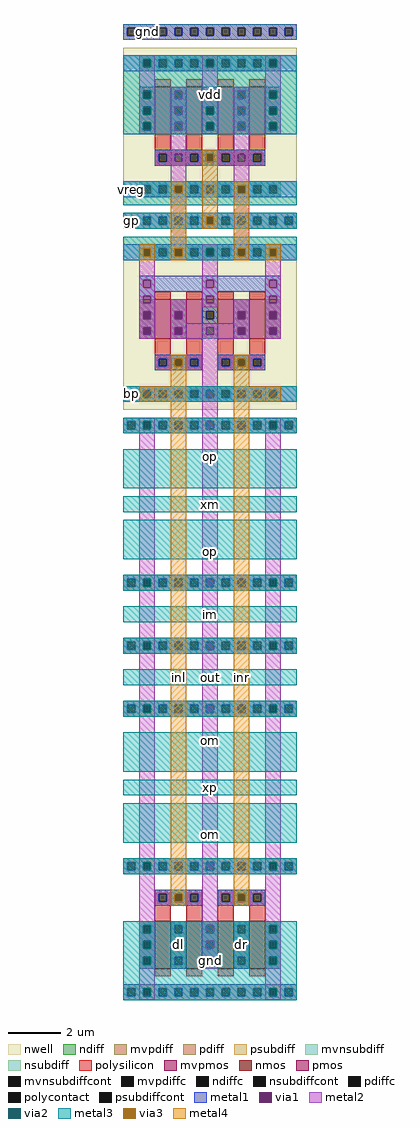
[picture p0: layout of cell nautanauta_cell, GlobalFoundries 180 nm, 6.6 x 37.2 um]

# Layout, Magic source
magic
tech gf180mcuC
<< nwell >>
rect -720 474 -588 594
rect -720 318 -588 450
<< nmos >>
rect -696 -108 -684 -72
rect -672 -108 -660 -72
rect -648 -108 -636 -72
rect -624 -108 -612 -72
<< pmos >>
rect -696 372 -684 402
rect -672 372 -660 402
rect -648 372 -636 402
rect -624 372 -612 402
<< mvpmos >>
rect -696 528 -684 564
rect -672 528 -660 564
rect -648 528 -636 564
rect -624 528 -612 564
<< ndiff >>
rect -708 -75 -696 -72
rect -708 -81 -705 -75
rect -699 -81 -696 -75
rect -708 -87 -696 -81
rect -708 -93 -705 -87
rect -699 -93 -696 -87
rect -708 -99 -696 -93
rect -708 -105 -705 -99
rect -699 -105 -696 -99
rect -708 -108 -696 -105
rect -684 -75 -672 -72
rect -684 -81 -681 -75
rect -675 -81 -672 -75
rect -684 -87 -672 -81
rect -684 -93 -681 -87
rect -675 -93 -672 -87
rect -684 -99 -672 -93
rect -684 -105 -681 -99
rect -675 -105 -672 -99
rect -684 -108 -672 -105
rect -660 -75 -648 -72
rect -660 -81 -657 -75
rect -651 -81 -648 -75
rect -660 -87 -648 -81
rect -660 -93 -657 -87
rect -651 -93 -648 -87
rect -660 -99 -648 -93
rect -660 -105 -657 -99
rect -651 -105 -648 -99
rect -660 -108 -648 -105
rect -636 -75 -624 -72
rect -636 -81 -633 -75
rect -627 -81 -624 -75
rect -636 -87 -624 -81
rect -636 -93 -633 -87
rect -627 -93 -624 -87
rect -636 -99 -624 -93
rect -636 -105 -633 -99
rect -627 -105 -624 -99
rect -636 -108 -624 -105
rect -612 -75 -600 -72
rect -612 -81 -609 -75
rect -603 -81 -600 -75
rect -612 -87 -600 -81
rect -612 -93 -609 -87
rect -603 -93 -600 -87
rect -612 -99 -600 -93
rect -612 -105 -609 -99
rect -603 -105 -600 -99
rect -612 -108 -600 -105
<< pdiff >>
rect -708 393 -696 402
rect -708 387 -705 393
rect -699 387 -696 393
rect -708 381 -696 387
rect -708 375 -705 381
rect -699 375 -696 381
rect -708 372 -696 375
rect -684 393 -672 402
rect -684 387 -681 393
rect -675 387 -672 393
rect -684 381 -672 387
rect -684 375 -681 381
rect -675 375 -672 381
rect -684 372 -672 375
rect -660 393 -648 402
rect -660 387 -657 393
rect -651 387 -648 393
rect -660 381 -648 387
rect -660 375 -657 381
rect -651 375 -648 381
rect -660 372 -648 375
rect -636 393 -624 402
rect -636 387 -633 393
rect -627 387 -624 393
rect -636 381 -624 387
rect -636 375 -633 381
rect -627 375 -624 381
rect -636 372 -624 375
rect -612 393 -600 402
rect -612 387 -609 393
rect -603 387 -600 393
rect -612 381 -600 387
rect -612 375 -609 381
rect -603 375 -600 381
rect -612 372 -600 375
<< mvpdiff >>
rect -708 561 -696 564
rect -708 555 -705 561
rect -699 555 -696 561
rect -708 549 -696 555
rect -708 543 -705 549
rect -699 543 -696 549
rect -708 537 -696 543
rect -708 531 -705 537
rect -699 531 -696 537
rect -708 528 -696 531
rect -684 561 -672 564
rect -684 555 -681 561
rect -675 555 -672 561
rect -684 549 -672 555
rect -684 543 -681 549
rect -675 543 -672 549
rect -684 537 -672 543
rect -684 531 -681 537
rect -675 531 -672 537
rect -684 528 -672 531
rect -660 561 -648 564
rect -660 555 -657 561
rect -651 555 -648 561
rect -660 549 -648 555
rect -660 543 -657 549
rect -651 543 -648 549
rect -660 537 -648 543
rect -660 531 -657 537
rect -651 531 -648 537
rect -660 528 -648 531
rect -636 561 -624 564
rect -636 555 -633 561
rect -627 555 -624 561
rect -636 549 -624 555
rect -636 543 -633 549
rect -627 543 -624 549
rect -636 537 -624 543
rect -636 531 -633 537
rect -627 531 -624 537
rect -636 528 -624 531
rect -612 561 -600 564
rect -612 555 -609 561
rect -603 555 -600 561
rect -612 549 -600 555
rect -612 543 -609 549
rect -603 543 -600 549
rect -612 537 -600 543
rect -612 531 -609 537
rect -603 531 -600 537
rect -612 528 -600 531
<< ndiffc >>
rect -705 -81 -699 -75
rect -705 -93 -699 -87
rect -705 -105 -699 -99
rect -681 -81 -675 -75
rect -681 -93 -675 -87
rect -681 -105 -675 -99
rect -657 -81 -651 -75
rect -657 -93 -651 -87
rect -657 -105 -651 -99
rect -633 -81 -627 -75
rect -633 -93 -627 -87
rect -633 -105 -627 -99
rect -609 -81 -603 -75
rect -609 -93 -603 -87
rect -609 -105 -603 -99
<< pdiffc >>
rect -705 387 -699 393
rect -705 375 -699 381
rect -681 387 -675 393
rect -681 375 -675 381
rect -657 387 -651 393
rect -657 375 -651 381
rect -633 387 -627 393
rect -633 375 -627 381
rect -609 387 -603 393
rect -609 375 -603 381
<< mvpdiffc >>
rect -705 555 -699 561
rect -705 543 -699 549
rect -705 531 -699 537
rect -681 555 -675 561
rect -681 543 -675 549
rect -681 531 -675 537
rect -657 555 -651 561
rect -657 543 -651 549
rect -657 531 -651 537
rect -633 555 -627 561
rect -633 543 -627 549
rect -633 531 -627 537
rect -609 555 -603 561
rect -609 543 -603 549
rect -609 531 -603 537
<< psubdiff >>
rect -720 609 -588 612
rect -720 603 -717 609
rect -711 603 -705 609
rect -699 603 -693 609
rect -687 603 -681 609
rect -675 603 -669 609
rect -663 603 -657 609
rect -651 603 -645 609
rect -639 603 -633 609
rect -627 603 -621 609
rect -615 603 -609 609
rect -603 603 -597 609
rect -591 603 -588 609
rect -720 600 -588 603
rect -720 465 -588 468
rect -720 459 -717 465
rect -711 459 -705 465
rect -699 459 -693 465
rect -687 459 -681 465
rect -675 459 -669 465
rect -663 459 -657 465
rect -651 459 -645 465
rect -639 459 -633 465
rect -627 459 -621 465
rect -615 459 -609 465
rect -603 459 -597 465
rect -591 459 -588 465
rect -720 456 -588 459
rect -720 309 -588 312
rect -720 303 -717 309
rect -711 303 -705 309
rect -699 303 -693 309
rect -687 303 -681 309
rect -675 303 -669 309
rect -663 303 -657 309
rect -651 303 -645 309
rect -639 303 -633 309
rect -627 303 -621 309
rect -615 303 -609 309
rect -603 303 -597 309
rect -591 303 -588 309
rect -720 300 -588 303
rect -720 189 -588 192
rect -720 183 -717 189
rect -711 183 -705 189
rect -699 183 -693 189
rect -687 183 -681 189
rect -675 183 -669 189
rect -663 183 -657 189
rect -651 183 -645 189
rect -639 183 -633 189
rect -627 183 -621 189
rect -615 183 -609 189
rect -603 183 -597 189
rect -591 183 -588 189
rect -720 180 -588 183
rect -720 141 -588 144
rect -720 135 -717 141
rect -711 135 -705 141
rect -699 135 -693 141
rect -687 135 -681 141
rect -675 135 -669 141
rect -663 135 -657 141
rect -651 135 -645 141
rect -639 135 -633 141
rect -627 135 -621 141
rect -615 135 -609 141
rect -603 135 -597 141
rect -591 135 -588 141
rect -720 132 -588 135
rect -720 93 -588 96
rect -720 87 -717 93
rect -711 87 -705 93
rect -699 87 -693 93
rect -687 87 -681 93
rect -675 87 -669 93
rect -663 87 -657 93
rect -651 87 -645 93
rect -639 87 -633 93
rect -627 87 -621 93
rect -615 87 -609 93
rect -603 87 -597 93
rect -591 87 -588 93
rect -720 84 -588 87
rect -720 -27 -588 -24
rect -720 -33 -717 -27
rect -711 -33 -705 -27
rect -699 -33 -693 -27
rect -687 -33 -681 -27
rect -675 -33 -669 -27
rect -663 -33 -657 -27
rect -651 -33 -645 -27
rect -639 -33 -633 -27
rect -627 -33 -621 -27
rect -615 -33 -609 -27
rect -603 -33 -597 -27
rect -591 -33 -588 -27
rect -720 -36 -588 -33
rect -720 -123 -588 -120
rect -720 -129 -717 -123
rect -711 -129 -705 -123
rect -699 -129 -693 -123
rect -687 -129 -681 -123
rect -675 -129 -669 -123
rect -663 -129 -657 -123
rect -651 -129 -645 -123
rect -639 -129 -633 -123
rect -627 -129 -621 -123
rect -615 -129 -609 -123
rect -603 -129 -597 -123
rect -591 -129 -588 -123
rect -720 -132 -588 -129
<< nsubdiff >>
rect -708 441 -600 444
rect -708 435 -705 441
rect -699 435 -693 441
rect -687 435 -681 441
rect -675 435 -669 441
rect -663 435 -657 441
rect -651 435 -645 441
rect -639 435 -633 441
rect -627 435 -621 441
rect -615 435 -609 441
rect -603 435 -600 441
rect -708 432 -600 435
rect -708 333 -600 336
rect -708 327 -705 333
rect -699 327 -693 333
rect -687 327 -681 333
rect -675 327 -669 333
rect -663 327 -657 333
rect -651 327 -645 333
rect -639 327 -633 333
rect -627 327 -621 333
rect -615 327 -609 333
rect -603 327 -600 333
rect -708 324 -600 327
<< mvnsubdiff >>
rect -708 585 -600 588
rect -708 579 -705 585
rect -699 579 -693 585
rect -687 579 -681 585
rect -675 579 -669 585
rect -663 579 -657 585
rect -651 579 -645 585
rect -639 579 -633 585
rect -627 579 -621 585
rect -615 579 -609 585
rect -603 579 -600 585
rect -708 576 -600 579
rect -708 489 -600 492
rect -708 483 -705 489
rect -699 483 -693 489
rect -687 483 -681 489
rect -675 483 -669 489
rect -663 483 -657 489
rect -651 483 -645 489
rect -639 483 -633 489
rect -627 483 -621 489
rect -615 483 -609 489
rect -603 483 -600 489
rect -708 480 -600 483
<< psubdiffcont >>
rect -717 603 -711 609
rect -705 603 -699 609
rect -693 603 -687 609
rect -681 603 -675 609
rect -669 603 -663 609
rect -657 603 -651 609
rect -645 603 -639 609
rect -633 603 -627 609
rect -621 603 -615 609
rect -609 603 -603 609
rect -597 603 -591 609
rect -717 459 -711 465
rect -705 459 -699 465
rect -693 459 -687 465
rect -681 459 -675 465
rect -669 459 -663 465
rect -657 459 -651 465
rect -645 459 -639 465
rect -633 459 -627 465
rect -621 459 -615 465
rect -609 459 -603 465
rect -597 459 -591 465
rect -717 303 -711 309
rect -705 303 -699 309
rect -693 303 -687 309
rect -681 303 -675 309
rect -669 303 -663 309
rect -657 303 -651 309
rect -645 303 -639 309
rect -633 303 -627 309
rect -621 303 -615 309
rect -609 303 -603 309
rect -597 303 -591 309
rect -717 183 -711 189
rect -705 183 -699 189
rect -693 183 -687 189
rect -681 183 -675 189
rect -669 183 -663 189
rect -657 183 -651 189
rect -645 183 -639 189
rect -633 183 -627 189
rect -621 183 -615 189
rect -609 183 -603 189
rect -597 183 -591 189
rect -717 135 -711 141
rect -705 135 -699 141
rect -693 135 -687 141
rect -681 135 -675 141
rect -669 135 -663 141
rect -657 135 -651 141
rect -645 135 -639 141
rect -633 135 -627 141
rect -621 135 -615 141
rect -609 135 -603 141
rect -597 135 -591 141
rect -717 87 -711 93
rect -705 87 -699 93
rect -693 87 -687 93
rect -681 87 -675 93
rect -669 87 -663 93
rect -657 87 -651 93
rect -645 87 -639 93
rect -633 87 -627 93
rect -621 87 -615 93
rect -609 87 -603 93
rect -597 87 -591 93
rect -717 -33 -711 -27
rect -705 -33 -699 -27
rect -693 -33 -687 -27
rect -681 -33 -675 -27
rect -669 -33 -663 -27
rect -657 -33 -651 -27
rect -645 -33 -639 -27
rect -633 -33 -627 -27
rect -621 -33 -615 -27
rect -609 -33 -603 -27
rect -597 -33 -591 -27
rect -717 -129 -711 -123
rect -705 -129 -699 -123
rect -693 -129 -687 -123
rect -681 -129 -675 -123
rect -669 -129 -663 -123
rect -657 -129 -651 -123
rect -645 -129 -639 -123
rect -633 -129 -627 -123
rect -621 -129 -615 -123
rect -609 -129 -603 -123
rect -597 -129 -591 -123
<< nsubdiffcont >>
rect -705 435 -699 441
rect -693 435 -687 441
rect -681 435 -675 441
rect -669 435 -663 441
rect -657 435 -651 441
rect -645 435 -639 441
rect -633 435 -627 441
rect -621 435 -615 441
rect -609 435 -603 441
rect -705 327 -699 333
rect -693 327 -687 333
rect -681 327 -675 333
rect -669 327 -663 333
rect -657 327 -651 333
rect -645 327 -639 333
rect -633 327 -627 333
rect -621 327 -615 333
rect -609 327 -603 333
<< mvnsubdiffcont >>
rect -705 579 -699 585
rect -693 579 -687 585
rect -681 579 -675 585
rect -669 579 -663 585
rect -657 579 -651 585
rect -645 579 -639 585
rect -633 579 -627 585
rect -621 579 -615 585
rect -609 579 -603 585
rect -705 483 -699 489
rect -693 483 -687 489
rect -681 483 -675 489
rect -669 483 -663 489
rect -657 483 -651 489
rect -645 483 -639 489
rect -633 483 -627 489
rect -621 483 -615 489
rect -609 483 -603 489
<< polysilicon >>
rect -696 564 -684 570
rect -672 564 -660 570
rect -648 564 -636 570
rect -624 564 -612 570
rect -696 516 -684 528
rect -672 516 -660 528
rect -648 516 -636 528
rect -624 516 -612 528
rect -696 513 -612 516
rect -696 507 -693 513
rect -687 507 -681 513
rect -675 507 -669 513
rect -663 507 -657 513
rect -651 507 -645 513
rect -639 507 -633 513
rect -627 507 -621 513
rect -615 507 -612 513
rect -696 504 -612 507
rect -696 402 -684 408
rect -672 402 -660 408
rect -648 402 -636 408
rect -624 402 -612 408
rect -696 360 -684 372
rect -672 360 -660 372
rect -696 357 -660 360
rect -696 351 -693 357
rect -687 351 -681 357
rect -675 351 -669 357
rect -663 351 -660 357
rect -696 348 -660 351
rect -648 360 -636 372
rect -624 360 -612 372
rect -648 357 -612 360
rect -648 351 -645 357
rect -639 351 -633 357
rect -627 351 -621 357
rect -615 351 -612 357
rect -648 348 -612 351
rect -696 -51 -660 -48
rect -696 -57 -693 -51
rect -687 -57 -681 -51
rect -675 -57 -669 -51
rect -663 -57 -660 -51
rect -696 -60 -660 -57
rect -696 -72 -684 -60
rect -672 -72 -660 -60
rect -648 -51 -612 -48
rect -648 -57 -645 -51
rect -639 -57 -633 -51
rect -627 -57 -621 -51
rect -615 -57 -612 -51
rect -648 -60 -612 -57
rect -648 -72 -636 -60
rect -624 -72 -612 -60
rect -696 -114 -684 -108
rect -672 -114 -660 -108
rect -648 -114 -636 -108
rect -624 -114 -612 -108
<< polycontact >>
rect -693 507 -687 513
rect -681 507 -675 513
rect -669 507 -663 513
rect -657 507 -651 513
rect -645 507 -639 513
rect -633 507 -627 513
rect -621 507 -615 513
rect -693 351 -687 357
rect -681 351 -675 357
rect -669 351 -663 357
rect -645 351 -639 357
rect -633 351 -627 357
rect -621 351 -615 357
rect -693 -57 -687 -51
rect -681 -57 -675 -51
rect -669 -57 -663 -51
rect -645 -57 -639 -51
rect -633 -57 -627 -51
rect -621 -57 -615 -51
<< metal1 >>
rect -720 609 -588 612
rect -720 603 -717 609
rect -711 603 -705 609
rect -699 603 -693 609
rect -687 603 -681 609
rect -675 603 -669 609
rect -663 603 -657 609
rect -651 603 -645 609
rect -639 603 -633 609
rect -627 603 -621 609
rect -615 603 -609 609
rect -603 603 -597 609
rect -591 603 -588 609
rect -720 600 -588 603
rect -720 585 -588 588
rect -720 579 -705 585
rect -699 579 -693 585
rect -687 579 -681 585
rect -675 579 -669 585
rect -663 579 -657 585
rect -651 579 -645 585
rect -639 579 -633 585
rect -627 579 -621 585
rect -615 579 -609 585
rect -603 579 -588 585
rect -720 576 -588 579
rect -708 561 -696 564
rect -708 555 -705 561
rect -699 555 -696 561
rect -708 549 -696 555
rect -708 543 -705 549
rect -699 543 -696 549
rect -708 537 -696 543
rect -708 531 -705 537
rect -699 531 -696 537
rect -708 528 -696 531
rect -684 561 -672 564
rect -684 555 -681 561
rect -675 555 -672 561
rect -684 549 -672 555
rect -684 543 -681 549
rect -675 543 -672 549
rect -684 537 -672 543
rect -684 531 -681 537
rect -675 531 -672 537
rect -684 528 -672 531
rect -660 561 -648 564
rect -660 555 -657 561
rect -651 555 -648 561
rect -660 549 -648 555
rect -660 543 -657 549
rect -651 543 -648 549
rect -660 537 -648 543
rect -660 531 -657 537
rect -651 531 -648 537
rect -660 528 -648 531
rect -636 561 -624 564
rect -636 555 -633 561
rect -627 555 -624 561
rect -636 549 -624 555
rect -636 543 -633 549
rect -627 543 -624 549
rect -636 537 -624 543
rect -636 531 -633 537
rect -627 531 -624 537
rect -636 528 -624 531
rect -612 561 -600 564
rect -612 555 -609 561
rect -603 555 -600 561
rect -612 549 -600 555
rect -612 543 -609 549
rect -603 543 -600 549
rect -612 537 -600 543
rect -612 531 -609 537
rect -603 531 -600 537
rect -612 528 -600 531
rect -696 513 -612 516
rect -696 507 -693 513
rect -687 507 -681 513
rect -675 507 -669 513
rect -663 507 -657 513
rect -651 507 -645 513
rect -639 507 -633 513
rect -627 507 -621 513
rect -615 507 -612 513
rect -696 504 -612 507
rect -720 489 -588 492
rect -720 483 -705 489
rect -699 483 -693 489
rect -687 483 -681 489
rect -675 483 -669 489
rect -663 483 -657 489
rect -651 483 -645 489
rect -639 483 -633 489
rect -627 483 -621 489
rect -615 483 -609 489
rect -603 483 -588 489
rect -720 480 -588 483
rect -720 465 -588 468
rect -720 459 -717 465
rect -711 459 -705 465
rect -699 459 -693 465
rect -687 459 -681 465
rect -675 459 -669 465
rect -663 459 -657 465
rect -651 459 -645 465
rect -639 459 -633 465
rect -627 459 -621 465
rect -615 459 -609 465
rect -603 459 -597 465
rect -591 459 -588 465
rect -720 456 -588 459
rect -720 441 -588 444
rect -720 435 -705 441
rect -699 435 -693 441
rect -687 435 -681 441
rect -675 435 -669 441
rect -663 435 -657 441
rect -651 435 -645 441
rect -639 435 -633 441
rect -627 435 -621 441
rect -615 435 -609 441
rect -603 435 -588 441
rect -720 432 -588 435
rect -708 417 -600 420
rect -708 411 -705 417
rect -699 411 -657 417
rect -651 411 -609 417
rect -603 411 -600 417
rect -708 408 -600 411
rect -708 405 -696 408
rect -708 399 -705 405
rect -699 399 -696 405
rect -660 405 -648 408
rect -708 393 -696 399
rect -708 387 -705 393
rect -699 387 -696 393
rect -708 381 -696 387
rect -708 375 -705 381
rect -699 375 -696 381
rect -708 372 -696 375
rect -684 393 -672 402
rect -684 387 -681 393
rect -675 387 -672 393
rect -684 381 -672 387
rect -684 375 -681 381
rect -675 375 -672 381
rect -684 372 -672 375
rect -660 399 -657 405
rect -651 399 -648 405
rect -612 405 -600 408
rect -660 393 -648 399
rect -660 387 -657 393
rect -651 387 -648 393
rect -660 381 -648 387
rect -660 375 -657 381
rect -651 375 -648 381
rect -660 372 -648 375
rect -636 393 -624 402
rect -636 387 -633 393
rect -627 387 -624 393
rect -636 381 -624 387
rect -636 375 -633 381
rect -627 375 -624 381
rect -636 372 -624 375
rect -612 399 -609 405
rect -603 399 -600 405
rect -612 393 -600 399
rect -612 387 -609 393
rect -603 387 -600 393
rect -612 381 -600 387
rect -612 375 -609 381
rect -603 375 -600 381
rect -612 372 -600 375
rect -696 357 -660 360
rect -696 351 -693 357
rect -687 351 -681 357
rect -675 351 -669 357
rect -663 351 -660 357
rect -696 348 -660 351
rect -648 357 -612 360
rect -648 351 -645 357
rect -639 351 -633 357
rect -627 351 -621 357
rect -615 351 -612 357
rect -648 348 -612 351
rect -720 333 -588 336
rect -720 327 -705 333
rect -699 327 -693 333
rect -687 327 -681 333
rect -675 327 -669 333
rect -663 327 -657 333
rect -651 327 -645 333
rect -639 327 -633 333
rect -627 327 -621 333
rect -615 327 -609 333
rect -603 327 -588 333
rect -720 324 -588 327
rect -720 309 -588 312
rect -720 303 -717 309
rect -711 303 -705 309
rect -699 303 -693 309
rect -687 303 -681 309
rect -675 303 -669 309
rect -663 303 -657 309
rect -651 303 -645 309
rect -639 303 -633 309
rect -627 303 -621 309
rect -615 303 -609 309
rect -603 303 -597 309
rect -591 303 -588 309
rect -720 300 -588 303
rect -720 189 -588 192
rect -720 183 -717 189
rect -711 183 -705 189
rect -699 183 -693 189
rect -687 183 -681 189
rect -675 183 -669 189
rect -663 183 -657 189
rect -651 183 -645 189
rect -639 183 -633 189
rect -627 183 -621 189
rect -615 183 -609 189
rect -603 183 -597 189
rect -591 183 -588 189
rect -720 180 -588 183
rect -720 141 -588 144
rect -720 135 -717 141
rect -711 135 -705 141
rect -699 135 -693 141
rect -687 135 -681 141
rect -675 135 -669 141
rect -663 135 -657 141
rect -651 135 -645 141
rect -639 135 -633 141
rect -627 135 -621 141
rect -615 135 -609 141
rect -603 135 -597 141
rect -591 135 -588 141
rect -720 132 -588 135
rect -720 93 -588 96
rect -720 87 -717 93
rect -711 87 -705 93
rect -699 87 -693 93
rect -687 87 -681 93
rect -675 87 -669 93
rect -663 87 -657 93
rect -651 87 -645 93
rect -639 87 -633 93
rect -627 87 -621 93
rect -615 87 -609 93
rect -603 87 -597 93
rect -591 87 -588 93
rect -720 84 -588 87
rect -720 -27 -588 -24
rect -720 -33 -717 -27
rect -711 -33 -705 -27
rect -699 -33 -693 -27
rect -687 -33 -681 -27
rect -675 -33 -669 -27
rect -663 -33 -657 -27
rect -651 -33 -645 -27
rect -639 -33 -633 -27
rect -627 -33 -621 -27
rect -615 -33 -609 -27
rect -603 -33 -597 -27
rect -591 -33 -588 -27
rect -720 -36 -588 -33
rect -696 -51 -660 -48
rect -696 -57 -693 -51
rect -687 -57 -681 -51
rect -675 -57 -669 -51
rect -663 -57 -660 -51
rect -696 -60 -660 -57
rect -648 -51 -612 -48
rect -648 -57 -645 -51
rect -639 -57 -633 -51
rect -627 -57 -621 -51
rect -615 -57 -612 -51
rect -648 -60 -612 -57
rect -708 -75 -696 -72
rect -708 -81 -705 -75
rect -699 -81 -696 -75
rect -708 -87 -696 -81
rect -708 -93 -705 -87
rect -699 -93 -696 -87
rect -708 -99 -696 -93
rect -708 -105 -705 -99
rect -699 -105 -696 -99
rect -708 -108 -696 -105
rect -684 -75 -672 -72
rect -684 -81 -681 -75
rect -675 -81 -672 -75
rect -684 -87 -672 -81
rect -684 -93 -681 -87
rect -675 -93 -672 -87
rect -684 -99 -672 -93
rect -684 -105 -681 -99
rect -675 -105 -672 -99
rect -684 -108 -672 -105
rect -660 -75 -648 -72
rect -660 -81 -657 -75
rect -651 -81 -648 -75
rect -660 -87 -648 -81
rect -660 -93 -657 -87
rect -651 -93 -648 -87
rect -660 -99 -648 -93
rect -660 -105 -657 -99
rect -651 -105 -648 -99
rect -660 -108 -648 -105
rect -636 -75 -624 -72
rect -636 -81 -633 -75
rect -627 -81 -624 -75
rect -636 -87 -624 -81
rect -636 -93 -633 -87
rect -627 -93 -624 -87
rect -636 -99 -624 -93
rect -636 -105 -633 -99
rect -627 -105 -624 -99
rect -636 -108 -624 -105
rect -612 -75 -600 -72
rect -612 -81 -609 -75
rect -603 -81 -600 -75
rect -612 -87 -600 -81
rect -612 -93 -609 -87
rect -603 -93 -600 -87
rect -612 -99 -600 -93
rect -612 -105 -609 -99
rect -603 -105 -600 -99
rect -612 -108 -600 -105
rect -720 -123 -588 -120
rect -720 -129 -717 -123
rect -711 -129 -705 -123
rect -699 -129 -693 -123
rect -687 -129 -681 -123
rect -675 -129 -669 -123
rect -663 -129 -657 -123
rect -651 -129 -645 -123
rect -639 -129 -633 -123
rect -627 -129 -621 -123
rect -615 -129 -609 -123
rect -603 -129 -597 -123
rect -591 -129 -588 -123
rect -720 -132 -588 -129
<< via1 >>
rect -705 579 -699 585
rect -657 579 -651 585
rect -609 579 -603 585
rect -705 555 -699 561
rect -705 543 -699 549
rect -705 531 -699 537
rect -681 555 -675 561
rect -681 543 -675 549
rect -681 531 -675 537
rect -657 555 -651 561
rect -657 543 -651 549
rect -657 531 -651 537
rect -633 555 -627 561
rect -633 543 -627 549
rect -633 531 -627 537
rect -609 555 -603 561
rect -609 543 -603 549
rect -609 531 -603 537
rect -657 507 -651 513
rect -705 411 -699 417
rect -657 411 -651 417
rect -609 411 -603 417
rect -705 399 -699 405
rect -705 387 -699 393
rect -705 375 -699 381
rect -681 387 -675 393
rect -681 375 -675 381
rect -657 399 -651 405
rect -633 387 -627 393
rect -633 375 -627 381
rect -609 399 -603 405
rect -609 387 -603 393
rect -609 375 -603 381
rect -681 351 -675 357
rect -633 351 -627 357
rect -705 327 -699 333
rect -609 327 -603 333
rect -705 303 -699 309
rect -609 303 -603 309
rect -705 183 -699 189
rect -609 183 -603 189
rect -705 135 -699 141
rect -609 135 -603 141
rect -705 87 -699 93
rect -609 87 -603 93
rect -705 -33 -699 -27
rect -609 -33 -603 -27
rect -681 -57 -675 -51
rect -633 -57 -627 -51
rect -705 -81 -699 -75
rect -705 -93 -699 -87
rect -705 -105 -699 -99
rect -657 -81 -651 -75
rect -657 -93 -651 -87
rect -657 -105 -651 -99
rect -609 -81 -603 -75
rect -609 -93 -603 -87
rect -609 -105 -603 -99
rect -705 -129 -699 -123
rect -609 -129 -603 -123
<< metal2 >>
rect -708 585 -696 588
rect -708 579 -705 585
rect -699 579 -696 585
rect -708 561 -696 579
rect -660 585 -648 588
rect -660 579 -657 585
rect -651 579 -648 585
rect -708 555 -705 561
rect -699 555 -696 561
rect -708 549 -696 555
rect -708 543 -705 549
rect -699 543 -696 549
rect -708 537 -696 543
rect -708 531 -705 537
rect -699 531 -696 537
rect -708 528 -696 531
rect -684 561 -672 564
rect -684 555 -681 561
rect -675 555 -672 561
rect -684 549 -672 555
rect -684 543 -681 549
rect -675 543 -672 549
rect -684 537 -672 543
rect -684 531 -681 537
rect -675 531 -672 537
rect -684 489 -672 531
rect -660 561 -648 579
rect -612 585 -600 588
rect -612 579 -609 585
rect -603 579 -600 585
rect -660 555 -657 561
rect -651 555 -648 561
rect -660 549 -648 555
rect -660 543 -657 549
rect -651 543 -648 549
rect -660 537 -648 543
rect -660 531 -657 537
rect -651 531 -648 537
rect -660 528 -648 531
rect -636 561 -624 564
rect -636 555 -633 561
rect -627 555 -624 561
rect -636 549 -624 555
rect -636 543 -633 549
rect -627 543 -624 549
rect -636 537 -624 543
rect -636 531 -633 537
rect -627 531 -624 537
rect -660 513 -648 516
rect -660 507 -657 513
rect -651 507 -648 513
rect -660 504 -648 507
rect -684 483 -681 489
rect -675 483 -672 489
rect -708 441 -696 444
rect -708 435 -705 441
rect -699 435 -696 441
rect -708 417 -696 435
rect -684 441 -672 483
rect -636 489 -624 531
rect -612 561 -600 579
rect -612 555 -609 561
rect -603 555 -600 561
rect -612 549 -600 555
rect -612 543 -609 549
rect -603 543 -600 549
rect -612 537 -600 543
rect -612 531 -609 537
rect -603 531 -600 537
rect -612 528 -600 531
rect -636 483 -633 489
rect -627 483 -624 489
rect -684 435 -681 441
rect -675 435 -672 441
rect -684 432 -672 435
rect -660 441 -648 444
rect -660 435 -657 441
rect -651 435 -648 441
rect -708 411 -705 417
rect -699 411 -696 417
rect -708 405 -696 411
rect -708 399 -705 405
rect -699 399 -696 405
rect -660 417 -648 435
rect -636 441 -624 483
rect -636 435 -633 441
rect -627 435 -624 441
rect -636 432 -624 435
rect -612 441 -600 444
rect -612 435 -609 441
rect -603 435 -600 441
rect -660 411 -657 417
rect -651 411 -648 417
rect -660 405 -648 411
rect -708 393 -696 399
rect -708 387 -705 393
rect -699 387 -696 393
rect -708 381 -696 387
rect -708 375 -705 381
rect -699 375 -696 381
rect -708 372 -696 375
rect -684 393 -672 402
rect -660 399 -657 405
rect -651 399 -648 405
rect -612 417 -600 435
rect -612 411 -609 417
rect -603 411 -600 417
rect -612 405 -600 411
rect -660 396 -648 399
rect -684 387 -681 393
rect -675 387 -672 393
rect -684 384 -672 387
rect -636 393 -624 402
rect -636 387 -633 393
rect -627 387 -624 393
rect -636 384 -624 387
rect -684 381 -624 384
rect -684 375 -681 381
rect -675 375 -633 381
rect -627 375 -624 381
rect -684 372 -624 375
rect -612 399 -609 405
rect -603 399 -600 405
rect -612 393 -600 399
rect -612 387 -609 393
rect -603 387 -600 393
rect -612 381 -600 387
rect -612 375 -609 381
rect -603 375 -600 381
rect -612 372 -600 375
rect -684 357 -672 360
rect -684 351 -681 357
rect -675 351 -672 357
rect -684 348 -672 351
rect -708 333 -696 336
rect -708 327 -705 333
rect -699 327 -696 333
rect -708 324 -696 327
rect -708 309 -696 312
rect -708 303 -705 309
rect -699 303 -696 309
rect -708 189 -696 303
rect -708 183 -705 189
rect -699 183 -696 189
rect -708 141 -696 183
rect -708 135 -705 141
rect -699 135 -696 141
rect -708 93 -696 135
rect -708 87 -705 93
rect -699 87 -696 93
rect -708 -27 -696 87
rect -708 -33 -705 -27
rect -699 -33 -696 -27
rect -708 -75 -696 -33
rect -684 -51 -672 -48
rect -684 -57 -681 -51
rect -675 -57 -672 -51
rect -684 -60 -672 -57
rect -708 -81 -705 -75
rect -699 -81 -696 -75
rect -708 -87 -696 -81
rect -708 -93 -705 -87
rect -699 -93 -696 -87
rect -708 -99 -696 -93
rect -708 -105 -705 -99
rect -699 -105 -696 -99
rect -708 -123 -696 -105
rect -660 -75 -648 372
rect -636 357 -624 360
rect -636 351 -633 357
rect -627 351 -624 357
rect -636 348 -624 351
rect -612 333 -600 336
rect -612 327 -609 333
rect -603 327 -600 333
rect -612 324 -600 327
rect -612 309 -600 312
rect -612 303 -609 309
rect -603 303 -600 309
rect -612 189 -600 303
rect -612 183 -609 189
rect -603 183 -600 189
rect -612 141 -600 183
rect -612 135 -609 141
rect -603 135 -600 141
rect -612 93 -600 135
rect -612 87 -609 93
rect -603 87 -600 93
rect -612 -27 -600 87
rect -612 -33 -609 -27
rect -603 -33 -600 -27
rect -636 -51 -624 -48
rect -636 -57 -633 -51
rect -627 -57 -624 -51
rect -636 -60 -624 -57
rect -660 -81 -657 -75
rect -651 -81 -648 -75
rect -660 -87 -648 -81
rect -660 -93 -657 -87
rect -651 -93 -648 -87
rect -660 -99 -648 -93
rect -660 -105 -657 -99
rect -651 -105 -648 -99
rect -660 -108 -648 -105
rect -612 -75 -600 -33
rect -612 -81 -609 -75
rect -603 -81 -600 -75
rect -612 -87 -600 -81
rect -612 -93 -609 -87
rect -603 -93 -600 -87
rect -612 -99 -600 -93
rect -612 -105 -609 -99
rect -603 -105 -600 -99
rect -708 -129 -705 -123
rect -699 -129 -696 -123
rect -708 -132 -696 -129
rect -612 -123 -600 -105
rect -612 -129 -609 -123
rect -603 -129 -600 -123
rect -612 -132 -600 -129
<< via2 >>
rect -705 579 -699 585
rect -657 579 -651 585
rect -705 555 -699 561
rect -705 543 -699 549
rect -705 531 -699 537
rect -609 579 -603 585
rect -657 555 -651 561
rect -657 543 -651 549
rect -657 531 -651 537
rect -657 507 -651 513
rect -681 483 -675 489
rect -705 435 -699 441
rect -609 555 -603 561
rect -609 543 -603 549
rect -609 531 -603 537
rect -633 483 -627 489
rect -681 435 -675 441
rect -657 435 -651 441
rect -633 435 -627 441
rect -609 435 -603 441
rect -681 351 -675 357
rect -705 327 -699 333
rect -705 303 -699 309
rect -705 183 -699 189
rect -705 135 -699 141
rect -705 87 -699 93
rect -705 -33 -699 -27
rect -681 -57 -675 -51
rect -705 -81 -699 -75
rect -705 -93 -699 -87
rect -705 -105 -699 -99
rect -633 351 -627 357
rect -609 327 -603 333
rect -609 303 -603 309
rect -609 183 -603 189
rect -609 135 -603 141
rect -609 87 -603 93
rect -609 -33 -603 -27
rect -633 -57 -627 -51
rect -609 -81 -603 -75
rect -609 -93 -603 -87
rect -609 -105 -603 -99
rect -705 -129 -699 -123
rect -609 -129 -603 -123
<< metal3 >>
rect -720 585 -588 588
rect -720 579 -705 585
rect -699 579 -657 585
rect -651 579 -609 585
rect -603 579 -588 585
rect -720 561 -588 579
rect -720 555 -705 561
rect -699 555 -657 561
rect -651 555 -609 561
rect -603 555 -588 561
rect -720 549 -588 555
rect -720 543 -705 549
rect -699 543 -657 549
rect -651 543 -609 549
rect -603 543 -588 549
rect -720 537 -588 543
rect -720 531 -705 537
rect -699 531 -657 537
rect -651 531 -609 537
rect -603 531 -588 537
rect -720 528 -588 531
rect -660 513 -648 516
rect -660 507 -657 513
rect -651 507 -648 513
rect -660 504 -648 507
rect -720 489 -588 492
rect -720 483 -681 489
rect -675 483 -633 489
rect -627 483 -588 489
rect -720 474 -588 483
rect -720 465 -588 468
rect -720 459 -657 465
rect -651 459 -588 465
rect -720 456 -588 459
rect -720 441 -588 450
rect -720 435 -705 441
rect -699 435 -681 441
rect -675 435 -657 441
rect -651 435 -633 441
rect -627 435 -609 441
rect -603 435 -588 441
rect -720 432 -588 435
rect -684 357 -672 360
rect -684 351 -681 357
rect -675 351 -672 357
rect -684 348 -672 351
rect -636 357 -624 360
rect -636 351 -633 357
rect -627 351 -624 357
rect -636 348 -624 351
rect -720 333 -588 336
rect -720 327 -705 333
rect -699 327 -609 333
rect -603 327 -588 333
rect -720 324 -588 327
rect -720 309 -588 312
rect -720 303 -705 309
rect -699 303 -609 309
rect -603 303 -588 309
rect -720 300 -588 303
rect -720 258 -588 288
rect -720 240 -588 252
rect -720 204 -588 234
rect -720 189 -588 192
rect -720 183 -705 189
rect -699 183 -609 189
rect -603 183 -588 189
rect -720 180 -588 183
rect -720 156 -588 168
rect -720 141 -588 144
rect -720 135 -705 141
rect -699 135 -609 141
rect -603 135 -588 141
rect -720 132 -588 135
rect -720 108 -588 120
rect -720 93 -588 96
rect -720 87 -705 93
rect -699 87 -609 93
rect -603 87 -588 93
rect -720 84 -588 87
rect -720 42 -588 72
rect -720 24 -588 36
rect -720 -12 -588 18
rect -720 -27 -588 -24
rect -720 -33 -705 -27
rect -699 -33 -609 -27
rect -603 -33 -588 -27
rect -720 -36 -588 -33
rect -684 -51 -672 -48
rect -684 -57 -681 -51
rect -675 -57 -672 -51
rect -684 -60 -672 -57
rect -636 -51 -624 -48
rect -636 -57 -633 -51
rect -627 -57 -624 -51
rect -636 -60 -624 -57
rect -720 -75 -588 -72
rect -720 -81 -705 -75
rect -699 -81 -609 -75
rect -603 -81 -588 -75
rect -720 -87 -588 -81
rect -720 -93 -705 -87
rect -699 -93 -609 -87
rect -603 -93 -588 -87
rect -720 -99 -588 -93
rect -720 -105 -705 -99
rect -699 -105 -609 -99
rect -603 -105 -588 -99
rect -720 -123 -588 -105
rect -720 -129 -705 -123
rect -699 -129 -609 -123
rect -603 -129 -588 -123
rect -720 -132 -588 -129
<< via3 >>
rect -657 507 -651 513
rect -681 483 -675 489
rect -633 483 -627 489
rect -657 459 -651 465
rect -705 435 -699 441
rect -681 435 -675 441
rect -633 435 -627 441
rect -609 435 -603 441
rect -681 351 -675 357
rect -633 351 -627 357
rect -681 -57 -675 -51
rect -633 -57 -627 -51
<< metal4 >>
rect -660 513 -648 516
rect -660 507 -657 513
rect -651 507 -648 513
rect -684 489 -672 492
rect -684 483 -681 489
rect -675 483 -672 489
rect -708 441 -696 444
rect -708 435 -705 441
rect -699 435 -696 441
rect -708 432 -696 435
rect -684 441 -672 483
rect -660 465 -648 507
rect -660 459 -657 465
rect -651 459 -648 465
rect -660 456 -648 459
rect -636 489 -624 492
rect -636 483 -633 489
rect -627 483 -624 489
rect -684 435 -681 441
rect -675 435 -672 441
rect -684 432 -672 435
rect -636 441 -624 483
rect -636 435 -633 441
rect -627 435 -624 441
rect -636 432 -624 435
rect -612 441 -600 444
rect -612 435 -609 441
rect -603 435 -600 441
rect -612 432 -600 435
rect -684 357 -672 360
rect -684 351 -681 357
rect -675 351 -672 357
rect -684 336 -672 351
rect -708 324 -672 336
rect -684 -51 -672 324
rect -684 -57 -681 -51
rect -675 -57 -672 -51
rect -684 -60 -672 -57
rect -636 357 -624 360
rect -636 351 -633 357
rect -627 351 -624 357
rect -636 336 -624 351
rect -636 324 -600 336
rect -636 -51 -624 324
rect -636 -57 -633 -51
rect -627 -57 -624 -51
rect -636 -60 -624 -57
<< labels >>
rlabel metal4 -684 -12 -672 240 0 inl
port 1 nsew
rlabel metal4 -636 -12 -624 240 0 inr
port 2 nsew
rlabel metal2 -660 -12 -648 240 0 out
port 3 nsew
rlabel metal3 -720 -132 -588 -72 0 gnd
port 14 nsew
rlabel metal1 -684 -108 -672 -72 0 dl
rlabel metal1 -636 -108 -624 -72 0 dr
rlabel metal3 -720 -12 -588 0 0 om
port 15 nsew
rlabel metal3 -720 24 -588 36 0 xp
port 13 nsew
rlabel metal3 -720 156 -588 168 0 im
port 10 nsew
rlabel metal3 -720 108 -588 120 0 ip
port 11 nsew
rlabel metal3 -720 240 -588 252 0 xm
port 9 nsew
rlabel metal3 -720 528 -588 588 0 vdd
port 4 nsew
rlabel metal3 -720 456 -708 468 0 gp
port 5 nsew
rlabel metal3 -720 324 -708 336 0 bp
port 6 nsew
rlabel metal3 -720 480 -708 492 0 vreg
port 7 nsew
rlabel metal3 -720 276 -588 288 0 op
port 8 nsew
rlabel metal1 -708 456 -696 468 0 gnd
rlabel metal1 -708 600 -696 612 0 gnd
rlabel metal3 -720 60 -588 72 0 om
port 15 nsew
rlabel metal3 -720 204 -588 216 0 op
port 8 nsew
<< end >>
